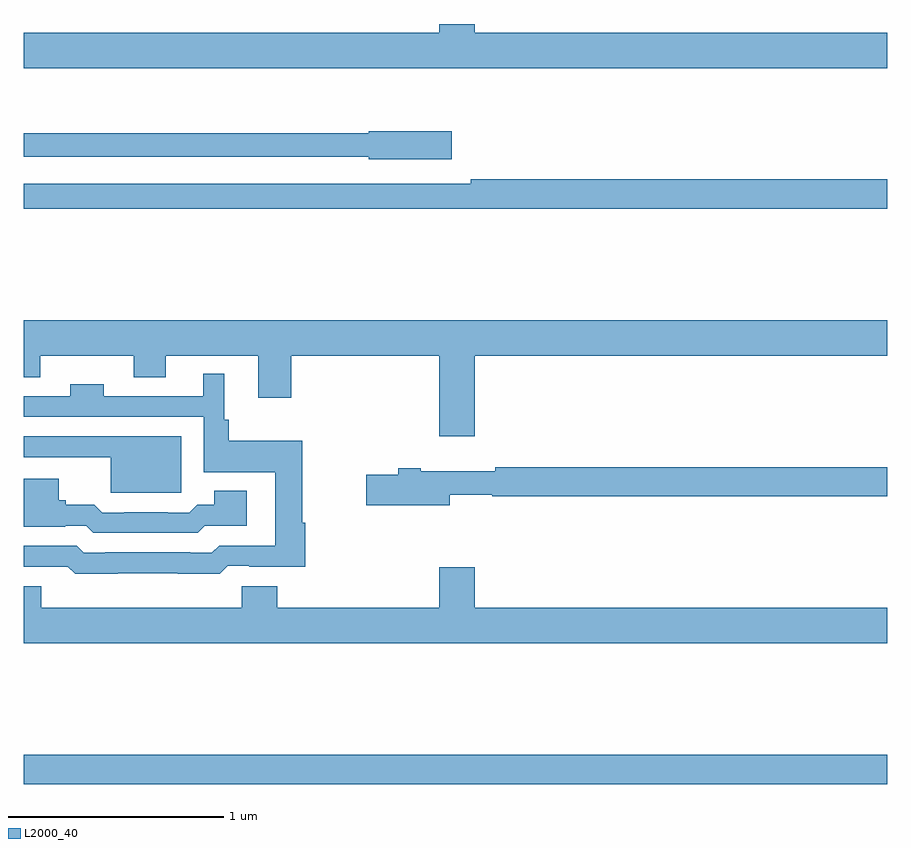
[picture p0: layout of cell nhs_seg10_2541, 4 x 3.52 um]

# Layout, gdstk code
import gdstk
lib = gdstk.Library(unit=1e-6, precision=1e-09)
def R(c, l, rs):  # rectangles x0, y0, x1, y1
    for r in rs: c.add(gdstk.rectangle(r[:2], r[2:], *l))
def P(c, l, *ps):  # polygons
    for p in ps: c.add(gdstk.Polygon(p, *l))
L2000_40 = (2000, 40)

nhs_seg10_2541 = lib.new_cell('nhs_seg10_2541')
R(nhs_seg10_2541, L2000_40, [(247,1316.98,251,1317.116)])
P(nhs_seg10_2541, L2000_40, [(251,1320.46),(249.088,1320.46),(249.088,1320.5),(248.924,1320.5),(248.924,1320.46),(247,1320.46),(247,1320.296),(251,1320.296)],
  [(248.983,1320.003),(248.598,1320.003),(248.598,1319.995),(247,1319.995),(247,1319.886),(248.598,1319.886),(248.598,1319.873),(248.983,1319.873)],
  [(251,1319.78),(249.07,1319.78),(249.07,1319.76),(247,1319.76),(247,1319.644),(251,1319.644)],
  [(249.088,1318.964),(251,1318.964),(251,1319.128),(247,1319.128),(247,1318.865),(247.077,1318.865),(247.077,1318.964),(247.51,1318.964),(247.51,1318.865),(247.657,1318.865),(247.657,1318.964),(248.087,1318.964),(248.087,1318.77),(248.24,1318.77),(248.24,1318.964),(248.924,1318.964),(248.924,1318.59),(249.088,1318.59)],
  [(247.436,1317.956),(247.714,1317.956),(247.714,1317.954),(247.909,1317.954),(247.945,1317.99),(248.044,1317.99),(248.044,1317.987),(248.303,1317.987),(248.303,1318.19),(248.29,1318.19),(248.29,1318.57),(247.949,1318.57),(247.949,1318.666),(247.93,1318.666),(247.93,1318.879),(247.832,1318.879),(247.832,1318.776),(247.371,1318.776),(247.371,1318.831),(247.216,1318.831),(247.216,1318.776),(247,1318.776),(247,1318.68),(247.833,1318.68),(247.833,1318.424),(248.165,1318.424),(248.165,1318.083),(247.905,1318.083),(247.872,1318.05),(247.772,1318.05),(247.772,1318.053),(247.378,1318.053),(247.378,1318.05),(247.278,1318.05),(247.245,1318.083),(247,1318.083),(247,1317.986),(247.205,1317.986),(247.238,1317.954),(247.436,1317.954)],
  [(247.729,1318.591),(247.507,1318.591),(247.507,1318.59),(247,1318.59),(247,1318.494),(247.403,1318.494),(247.403,1318.328),(247.729,1318.328)],
  [(248.974,1318.32),(249.17,1318.32),(249.17,1318.312),(251,1318.312),(251,1318.448),(249.184,1318.448),(249.184,1318.429),(248.839,1318.429),(248.839,1318.442),(248.735,1318.442),(248.735,1318.412),(248.586,1318.412),(248.586,1318.27),(248.974,1318.27)],
  [(247.839,1318.176),(248.032,1318.176),(248.032,1318.339),(247.883,1318.339),(247.883,1318.273),(247.804,1318.273),(247.767,1318.236),(247.667,1318.236),(247.667,1318.239),(247.465,1318.239),(247.465,1318.236),(247.365,1318.236),(247.327,1318.274),(247.194,1318.274),(247.194,1318.294),(247.162,1318.294),(247.162,1318.393),(247,1318.393),(247,1318.172),(247.193,1318.172),(247.193,1318.176),(247.289,1318.176),(247.322,1318.143),(247.806,1318.143)],
  [(251,1317.796),(249.088,1317.796),(249.088,1317.985),(248.924,1317.985),(248.924,1317.796),(248.174,1317.796),(248.174,1317.895),(248.009,1317.895),(248.009,1317.796),(247.082,1317.796),(247.082,1317.895),(247,1317.895),(247,1317.632),(251,1317.632)])

lib.write_gds('nhs_seg10_2541.gds')
